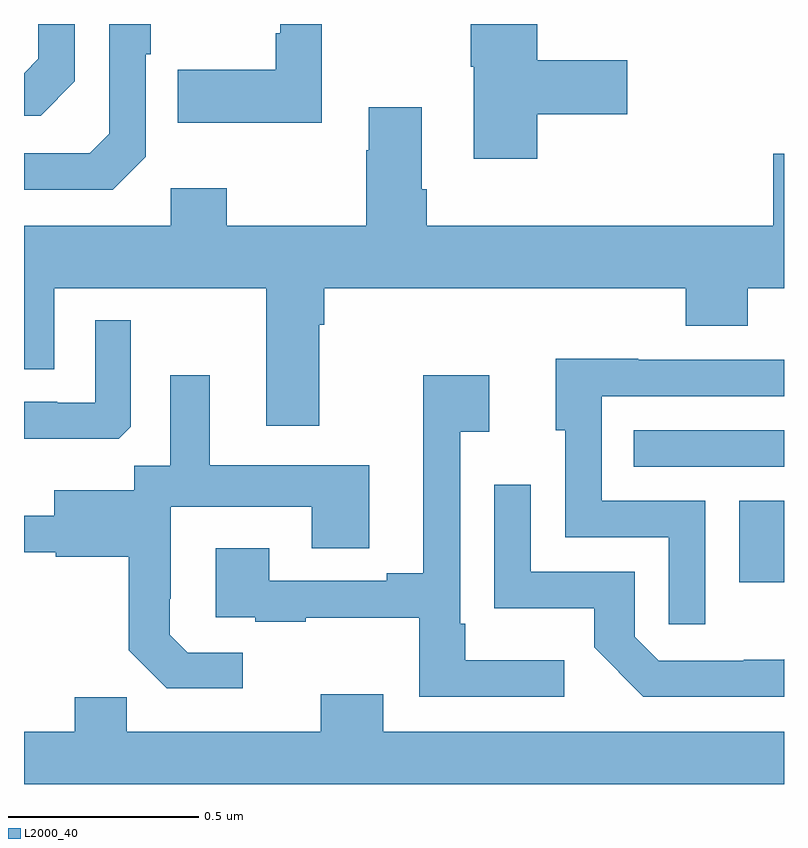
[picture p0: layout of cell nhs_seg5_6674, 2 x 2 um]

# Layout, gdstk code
import gdstk
lib = gdstk.Library(unit=1e-6, precision=1e-09)
def R(c, l, rs):  # rectangles x0, y0, x1, y1
    for r in rs: c.add(gdstk.rectangle(r[:2], r[2:], *l))
def P(c, l, *ps):  # polygons
    for p in ps: c.add(gdstk.Polygon(p, *l))
L2000_40 = (2000, 40)

nhs_seg5_6674 = lib.new_cell('nhs_seg5_6674')
R(nhs_seg5_6674, L2000_40, [(200.882,845.33,201,845.545), (200.605,845.634,201,845.73)])
P(nhs_seg5_6674, L2000_40, [(199.783,846.799),(199.674,846.799),(199.674,846.775),(199.662,846.775),(199.662,846.679),(199.405,846.679),(199.405,846.539),(199.783,846.539)],
  [(199.32,846.45),(199.32,846.719),(199.333,846.719),(199.333,846.799),(199.224,846.799),(199.224,846.51),(199.173,846.459),(199,846.459),(199,846.363),(199.233,846.363)],
  [(200.351,846.562),(200.587,846.562),(200.587,846.704),(200.351,846.704),(200.351,846.799),(200.176,846.799),(200.176,846.687),(200.183,846.687),(200.183,846.444),(200.351,846.444)],
  [(199.134,846.648),(199.134,846.799),(199.038,846.799),(199.038,846.708),(199,846.67),(199,846.558),(199.044,846.558)],
  [(199.637,845.742),(199.777,845.742),(199.777,846.008),(199.79,846.008),(199.79,846.104),(200.741,846.104),(200.741,846.005),(200.905,846.005),(200.905,846.104),(201,846.104),(201,846.457),(200.972,846.457),(200.972,846.268),(200.06,846.268),(200.06,846.364),(200.047,846.364),(200.047,846.58),(199.907,846.58),(199.907,846.467),(199.9,846.467),(199.9,846.268),(199.533,846.268),(199.533,846.367),(199.386,846.367),(199.386,846.268),(199,846.268),(199,845.89),(199.08,845.89),(199.08,846.104),(199.637,846.104)],
  [(199.281,845.739),(199.281,846.019),(199.188,846.019),(199.188,845.802),(199.088,845.802),(199.088,845.805),(199,845.805),(199,845.708),(199.249,845.708)],
  [(200.793,845.544),(200.52,845.544),(200.52,845.82),(201,845.82),(201,845.916),(200.617,845.916),(200.617,845.918),(200.399,845.918),(200.399,845.73),(200.424,845.73),(200.424,845.448),(200.697,845.448),(200.697,845.22),(200.793,845.22)],
  [(199.576,845.145),(199.431,845.145),(199.384,845.192),(199.384,845.287),(199.386,845.287),(199.386,845.528),(199.757,845.528),(199.757,845.419),(199.909,845.419),(199.909,845.638),(199.489,845.638),(199.489,845.875),(199.385,845.875),(199.385,845.636),(199.29,845.636),(199.29,845.572),(199.079,845.572),(199.079,845.505),(199,845.505),(199,845.409),(199.083,845.409),(199.083,845.397),(199.275,845.397),(199.275,845.151),(199.375,845.051),(199.576,845.051)],
  [(200.422,845.125),(200.161,845.125),(200.161,845.221),(200.148,845.221),(200.148,845.726),(200.224,845.726),(200.224,845.875),(200.051,845.875),(200.051,845.353),(199.955,845.353),(199.955,845.334),(199.645,845.334),(199.645,845.419),(199.505,845.419),(199.505,845.238),(199.609,845.238),(199.609,845.226),(199.741,845.226),(199.741,845.237),(200.04,845.237),(200.04,845.028),(200.422,845.028)],
  [(201,845.127),(200.999,845.126),(200.894,845.126),(200.894,845.124),(200.67,845.124),(200.607,845.187),(200.607,845.358),(200.334,845.358),(200.334,845.587),(200.238,845.587),(200.238,845.261),(200.5,845.261),(200.5,845.159),(200.63,845.028),(201,845.028)],
  [(201,844.936),(199.945,844.936),(199.945,845.035),(199.781,845.035),(199.781,844.936),(199.271,844.936),(199.271,845.027),(199.133,845.027),(199.133,844.936),(199,844.936),(199,844.799),(201,844.799)])

lib.write_gds('nhs_seg5_6674.gds')
